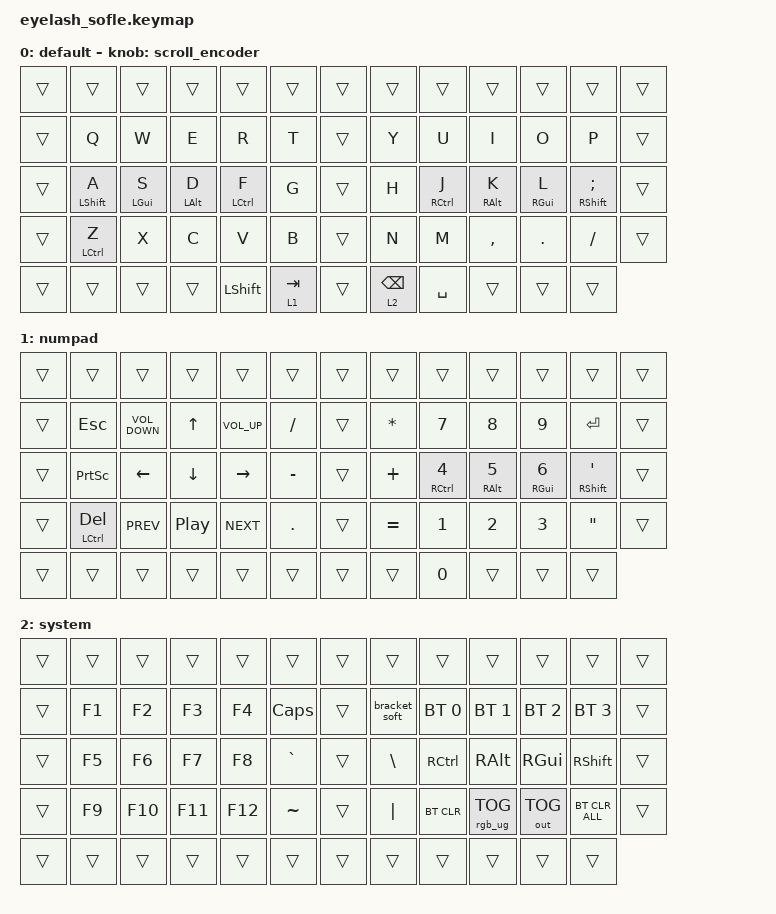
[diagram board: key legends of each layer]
#define ZMK_POINTING_DEFAULT_MOVE_VAL 1200  // 600
#define ZMK_POINTING_DEFAULT_SCRL_VAL 10   // 10

#include <input/processors.dtsi>
#include <zephyr/dt-bindings/input/input-event-codes.h>
#include <behaviors.dtsi>
#include <dt-bindings/zmk/bt.h>
#include <dt-bindings/zmk/keys.h>
#include <dt-bindings/zmk/outputs.h>
#include <dt-bindings/zmk/pointing.h>
#include <dt-bindings/zmk/rgb.h>

&mmv_input_listener { input-processors = <&zip_xy_scaler 2 1>; };

&msc_input_listener { input-processors = <&zip_scroll_scaler 1 1>; };

&mmv {
    time-to-max-speed-ms = <200>;
    trigger-period-ms = <16>;
};

&soft_off { hold-time-ms = <2000>; };

/ {
    scroll_encoder: scroll_encoder {
        compatible = "zmk,behavior-sensor-rotate";
        #sensor-binding-cells = <0>;
        bindings = <&msc SCRL_DOWN>, <&msc SCRL_UP>;

        tap-ms = <100>;
    };

    behaviors {
        hrm_L: hrm_L {
            compatible = "zmk,behavior-hold-tap";
            label = "HRM_L";
            bindings = <&kp>, <&kp>;

            #binding-cells = <2>;
            tapping-term-ms = <200>;
            quick-tap-ms = <175>;
            require-prior-idle-ms = <200>;
            flavor = "balanced";
            hold-trigger-on-release;
            hold-trigger-key-positions = <20 21 22 23 24 34 35 36 37 20 21 22 23 24 33 34 35 36 37 46 47 48 49 50 59 60 56 57>;
        };

        hrm_R: hrm_R {
            compatible = "zmk,behavior-hold-tap";
            label = "HRM_R";
            bindings = <&kp>, <&kp>;

            #binding-cells = <2>;
            hold-trigger-key-positions = <14 15 16 17 18 27 28 29 30 31 41 42 43 44 40 57 56 59 60>;
            hold-trigger-on-release;
            flavor = "balanced";
            tapping-term-ms = <200>;
            quick-tap-ms = <175>;
            require-prior-idle-ms = <200>;
        };

        hrm_ctrl_L: hrm_ctrl_L {
            compatible = "zmk,behavior-hold-tap";
            label = "HRM_CTRL_L";
            bindings = <&kp>, <&kp>;

            #binding-cells = <2>;
            tapping-term-ms = <200>;
            quick-tap-ms = <175>;
            require-prior-idle-ms = <150>;
            flavor = "balanced";
            hold-trigger-on-release;
            hold-trigger-key-positions = <20 21 22 23 24 34 35 36 37 20 21 22 23 24 33 34 35 36 37 46 47 48 49 50 59 60 56 57>;
        };

        hrm_ctrl_R: hrm_ctrl_R {
            compatible = "zmk,behavior-hold-tap";
            label = "HRM_CTRL_R";
            bindings = <&kp>, <&kp>;

            #binding-cells = <2>;
            hold-trigger-key-positions = <14 15 16 17 18 27 28 29 30 31 41 42 43 44 40 57 56 59 60>;
            hold-trigger-on-release;
            flavor = "balanced";
            tapping-term-ms = <200>;
            quick-tap-ms = <175>;
            require-prior-idle-ms = <150>;
        };

        z_ctrl: z_ctrl {
            compatible = "zmk,behavior-hold-tap";
            label = "Z_CTRL";
            bindings = <&kp>, <&kp>;

            #binding-cells = <2>;
            tapping-term-ms = <200>;
            quick-tap-ms = <175>;
            require-prior-idle-ms = <150>;
            flavor = "balanced";
            hold-trigger-on-release;
            hold-trigger-key-positions = <31 18 17 16 28 29 30 44>;
        };

        tab_layer1: tab_layer1 {
            compatible = "zmk,behavior-hold-tap";
            label = "TAB_LAYER1";
            bindings = <&mo>, <&kp>;

            #binding-cells = <2>;
            tapping-term-ms = <150>;
            quick-tap-ms = <150>;
            hold-trigger-key-positions = <16 29 28 30 14 27 40 21 22 23 34 35 36 47 48 49 60>;
            hold-trigger-on-release;
        };

        bckspce_layer2: bckspce_layer2 {
            compatible = "zmk,behavior-hold-tap";
            label = "BCKSPCE_LAYER2";
            bindings = <&mo>, <&kp>;

            #binding-cells = <2>;
            tapping-term-ms = <150>;
            quick-tap-ms = <150>;
            flavor = "tap-preferred";
            hold-trigger-key-positions = <14 15 16 17 27 28 29 30 40 41 42 43 34 35 36 37>;
            hold-trigger-on-release;
        };

        /* Shift variants (shorter tapping term for quick capitalization) */
    };

    combos {
        compatible = "zmk,combos";

        minus {
            bindings = <&kp MINUS>;
            key-positions = <21 22>;
            layers = <0>;
            require-prior-idle-ms = <50>;
            timeout-ms = <18>;
        };

        equal {
            bindings = <&kp EQUAL>;
            key-positions = <22 23>;
            layers = <0>;
            require-prior-idle-ms = <50>;
            timeout-ms = <18>;
        };

        exlam {
            bindings = <&kp EXCLAMATION>;
            key-positions = <14 27>;
            timeout-ms = <30>;
            require-prior-idle-ms = <50>;
            layers = <0>;
        };

        at {
            bindings = <&kp AT_SIGN>;
            key-positions = <15 28>;
            timeout-ms = <30>;
            require-prior-idle-ms = <50>;
            layers = <0>;
        };

        hash {
            bindings = <&kp HASH>;
            key-positions = <16 29>;
            timeout-ms = <30>;
            require-prior-idle-ms = <50>;
            layers = <0>;
        };

        dollar {
            bindings = <&kp DOLLAR>;
            key-positions = <17 30>;
            timeout-ms = <30>;
            require-prior-idle-ms = <50>;
            layers = <0>;
        };

        percent {
            bindings = <&kp PERCENT>;
            key-positions = <21 34>;
            timeout-ms = <30>;
            require-prior-idle-ms = <50>;
            layers = <0>;
        };

        caret {
            bindings = <&kp CARET>;
            key-positions = <22 35>;
            timeout-ms = <30>;
            require-prior-idle-ms = <50>;
            layers = <0>;
        };

        ampersand {
            bindings = <&kp AMPERSAND>;
            key-positions = <23 36>;
            timeout-ms = <30>;
            require-prior-idle-ms = <50>;
            layers = <0>;
        };

        asterix {
            bindings = <&kp ASTERISK>;
            key-positions = <24 37>;
            timeout-ms = <30>;
            require-prior-idle-ms = <50>;
            layers = <0>;
        };

        parentheses_1 {
            bindings = <&kp LEFT_PARENTHESIS>;
            key-positions = <16 15>;
            layers = <0>;
            require-prior-idle-ms = <50>;
            timeout-ms = <18>;
        };

        parentheses_2 {
            bindings = <&kp RIGHT_PARENTHESIS>;
            key-positions = <16 17>;
            layers = <0>;
            require-prior-idle-ms = <50>;
            timeout-ms = <18>;
        };

        bracket_1 {
            bindings = <&kp LEFT_BRACKET>;
            key-positions = <21 34>;
            layers = <1>;
            timeout-ms = <30>;
            require-prior-idle-ms = <50>;
        };

        bracket_2 {
            bindings = <&kp RIGHT_BRACKET>;
            key-positions = <22 35>;
            layers = <1>;
            timeout-ms = <30>;
            require-prior-idle-ms = <50>;
        };

        brace_1 {
            bindings = <&kp LEFT_BRACE>;
            key-positions = <34 47>;
            layers = <1>;
            timeout-ms = <30>;
            require-prior-idle-ms = <50>;
        };

        brace_2 {
            bindings = <&kp RIGHT_BRACE>;
            key-positions = <35 48>;
            layers = <1>;
            timeout-ms = <30>;
            require-prior-idle-ms = <50>;
        };

        undo {
            bindings = <&kp LC(Z)>;
            key-positions = <40 41>;
            layers = <0>;
            require-prior-idle-ms = <50>;
            timeout-ms = <30>;
        };

        cut {
            bindings = <&kp LC(X)>;
            key-positions = <40 42>;
            require-prior-idle-ms = <50>;
            layers = <0>;
            timeout-ms = <30>;
        };

        copy {
            bindings = <&kp LC(C)>;
            key-positions = <41 42>;
            layers = <0>;
            require-prior-idle-ms = <50>;
            timeout-ms = <30>;
        };

        paste {
            bindings = <&kp LC(V)>;
            key-positions = <42 43>;
            layers = <0>;
            require-prior-idle-ms = <50>;
            timeout-ms = <30>;
        };

        delete {
            bindings = <&kp DELETE>;
            key-positions = <49 48>;
            require-prior-idle-ms = <50>;
            layers = <0>;
            timeout-ms = <18>;
        };

        enter {
            bindings = <&kp ENTER>;
            key-positions = <48 47>;
            timeout-ms = <18>;
            require-prior-idle-ms = <50>;
            layers = <0>;
        };

        page_up {
            bindings = <&kp PAGE_UP>;
            key-positions = <16 29>;
            layers = <1>;
            timeout-ms = <30>;
            require-prior-idle-ms = <50>;
        };

        page_down {
            bindings = <&kp PAGE_DOWN>;
            key-positions = <29 42>;
            layers = <1>;
            timeout-ms = <30>;
            require-prior-idle-ms = <50>;
        };

        mute {
            bindings = <&kp C_MUTE>;
            key-positions = <15 17>;
            timeout-ms = <18>;
            require-prior-idle-ms = <50>;
            layers = <1>;
        };
    };

    macros {
        bracket_soft: bracket_soft {
            compatible = "zmk,behavior-macro";
            #binding-cells = <0>;
            bindings = <&kp LPAR &kp RPAR &kp LEFT>;
            label = "BRACKET_SOFT";
        };
    };

    keymap {
        compatible = "zmk,keymap";

        default {
            bindings = <
&trans  &trans               &trans             &trans             &trans                      &trans               &trans  &trans                       &trans                       &trans              &trans              &trans                        &trans
&trans  &kp Q                &kp W              &kp E              &kp R                       &kp T                &trans  &kp Y                        &kp U                        &kp I               &kp O               &kp P                         &trans
&trans  &hrm_L LEFT_SHIFT A  &hrm_L LEFT_GUI S  &hrm_L LEFT_ALT D  &hrm_ctrl_L LEFT_CONTROL F  &kp G                &trans  &kp H                        &hrm_ctrl_R RIGHT_CONTROL J  &hrm_R RIGHT_ALT K  &hrm_R RIGHT_GUI L  &hrm_R RIGHT_SHIFT SEMICOLON  &trans
&trans  &z_ctrl LCTRL Z      &kp X              &kp C              &kp V                       &kp B                &trans  &kp N                        &kp M                        &kp COMMA           &kp DOT             &kp SLASH                     &trans
&trans  &trans               &trans             &trans             &kp LEFT_SHIFT              &tab_layer1 1 TAB    &trans  &bckspce_layer2 2 BACKSPACE  &kp SPACE                    &trans              &trans              &trans
            >;

            sensor-bindings = <&scroll_encoder>;
            display-name = "default";
        };

        numpad_arrow {
            bindings = <
&trans  &trans                       &trans             &trans        &trans           &trans       &trans  &trans     &trans                        &trans               &trans               &trans                         &trans
&trans  &kp ESCAPE                   &kp C_VOLUME_DOWN  &kp UP_ARROW  &kp C_VOLUME_UP  &kp SLASH    &trans  &kp ASTRK  &kp N7                        &kp N8               &kp N9               &kp ENTER                      &trans
&trans  &kp PRINTSCREEN              &kp LEFT           &kp DOWN      &kp RIGHT        &kp MINUS    &trans  &kp PLUS   &hrm_ctrl_R RIGHT_CONTROL N4  &hrm_R RIGHT_ALT N5  &hrm_R RIGHT_GUI N6  &hrm_R RIGHT_SHIFT APOSTROPHE  &trans
&trans  &z_ctrl LEFT_CONTROL DELETE  &kp C_PREV         &kp C_PP      &kp C_NEXT       &kp DOT      &trans  &kp EQUAL  &kp N1                        &kp N2               &kp N3               &kp DOUBLE_QUOTES              &trans
&trans  &trans                       &trans             &trans        &trans           &trans       &trans  &trans     &kp N0                        &trans               &trans               &trans
            >;

            label = "numpad";
        };

        system {
            bindings = <
&trans  &trans  &trans   &trans   &trans   &trans          &trans  &trans         &trans             &trans           &trans         &trans           &trans
&trans  &kp F1  &kp F2   &kp F3   &kp F4   &kp CAPSLOCK    &trans  &bracket_soft  &bt BT_SEL 0       &bt BT_SEL 1     &bt BT_SEL 2   &bt BT_SEL 3     &trans
&trans  &kp F5  &kp F6   &kp F7   &kp F8   &kp GRAVE       &trans  &kp BACKSLASH  &kp RIGHT_CONTROL  &kp RIGHT_ALT    &kp RIGHT_GUI  &kp RIGHT_SHIFT  &trans
&trans  &kp F9  &kp F10  &kp F11  &kp F12  &kp TILDE       &trans  &kp PIPE       &bt BT_CLR         &rgb_ug RGB_TOG  &out OUT_TOG   &bt BT_CLR_ALL   &trans
&trans  &trans  &trans   &trans   &trans   &trans          &trans  &trans         &trans             &trans           &trans         &trans
            >;

            label = "system";
        };
    };

    conditional_layers { compatible = "zmk,conditional-layers"; };
};
